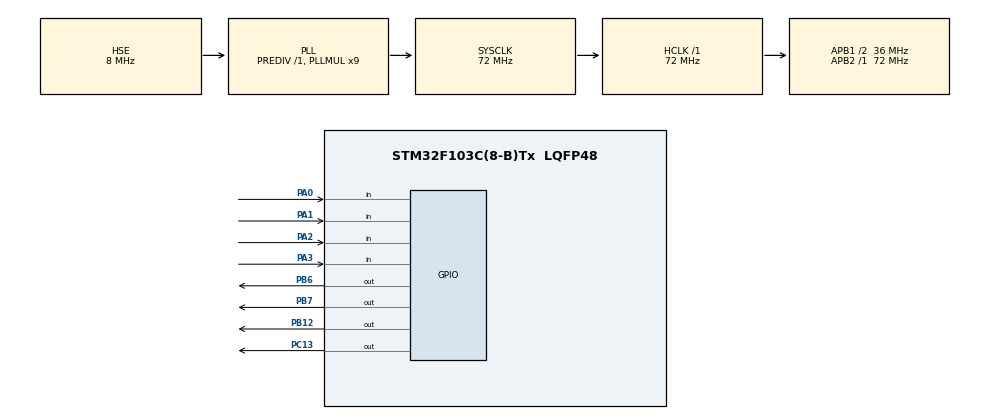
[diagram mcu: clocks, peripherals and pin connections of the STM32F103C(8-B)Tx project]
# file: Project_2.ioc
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Mcu.Family=STM32F1
Mcu.Name=STM32F103C(8-B)Tx
Mcu.Package=LQFP48
NVIC.PriorityGroup=NVIC_PRIORITYGROUP_4
NVIC.TIM1_UP_IRQn=true\:15\:0\:false\:false\:true\:false\:true\:true
NVIC.TIM2_IRQn=true\:15\:0\:false\:false\:true\:true\:true\:true
NVIC.TimeBase=TIM1_UP_IRQn
NVIC.TimeBaseIP=TIM1
PA0-WKUP.GPIO_PuPd=GPIO_PULLUP
PA0-WKUP.Signal=GPIO_Input
PA1.GPIO_Mode=GPIO_MODE_INPUT
PA1.GPIO_PuPd=GPIO_PULLUP
PA1.Signal=GPIO_Input
PA13.Mode=Serial_Wire
PA13.Signal=SYS_JTMS-SWDIO
PA14.Mode=Serial_Wire
PA14.Signal=SYS_JTCK-SWCLK
PA2.GPIO_PuPd=GPIO_PULLUP
PA2.Signal=GPIO_Input
PA3.GPIO_PuPd=GPIO_PULLUP
PA3.Signal=GPIO_Input
PB10.GPIO_Speed=GPIO_SPEED_FREQ_HIGH
PB10.Signal=I2C2_SCL
PB11.GPIO_Speed=GPIO_SPEED_FREQ_HIGH
PB11.Signal=I2C2_SDA
PB12.GPIO_Speed=GPIO_SPEED_FREQ_LOW
PB12.PinState=GPIO_PIN_RESET
PB12.Signal=GPIO_Output
PB6.PinState=GPIO_PIN_RESET
PB6.Signal=GPIO_Output
PB7.PinState=GPIO_PIN_RESET
PB7.Signal=GPIO_Output
PC13-TAMPER-RTC.Signal=GPIO_Output
PD0-OSC_IN.Mode=HSE-External-Oscillator
PD0-OSC_IN.Signal=RCC_OSC_IN
PD1-OSC_OUT.Mode=HSE-External-Oscillator
PD1-OSC_OUT.Signal=RCC_OSC_OUT
ProjectManager.HeapSize=0x200
ProjectManager.StackSize=0x400
ProjectManager.TargetToolchain=MDK-ARM V5.32
RCC.AHBFreq_Value=72000000
RCC.APB1CLKDivider=RCC_HCLK_DIV2
RCC.APB1Freq_Value=36000000
RCC.APB1TimFreq_Value=72000000
RCC.APB2Freq_Value=72000000
RCC.APB2TimFreq_Value=72000000
RCC.HCLKFreq_Value=72000000
RCC.PLLMUL=RCC_PLL_MUL9
RCC.PLLSourceVirtual=RCC_PLLSOURCE_HSE
RCC.SYSCLKFreq_VALUE=72000000
RCC.SYSCLKSource=RCC_SYSCLKSOURCE_PLLCLK
RCC.USBFreq_Value=72000000
TIM2.Period=999
TIM2.Prescaler=71
VP_SYS_VS_tim1.Mode=TIM1
VP_TIM2_VS_ClockSourceINT.Mode=Internal
board=custom

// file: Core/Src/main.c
/* USER CODE BEGIN Header */
/**
  ******************************************************************************
  * @file           : main.c
  * @brief          : Main program body
  ******************************************************************************
  * @attention
  *
  * Copyright (c) 2026 STMicroelectronics.
  * All rights reserved.
  *
  * This software is licensed under terms that can be found in the LICENSE file
  * in the root directory of this software component.
  * If no LICENSE file comes with this software, it is provided AS-IS.
  *
  ******************************************************************************
  */
/* USER CODE END Header */
#include "main.h"
#include "tim.h"
#include "gpio.h"

/* USER CODE BEGIN Includes */
#include "OLED_I2C.h"
#include <stdio.h>
/* USER CODE END Includes */

/* USER CODE BEGIN PV */

//定义结构体
typedef struct{

	uint16_t year;
	uint8_t month;
	uint8_t day;
	uint8_t hour;
	uint8_t min;
	uint8_t sec;

}Clock_t;

//当前时间

Clock_t currentTime = {2026,10,29,6,1,15};

//毫秒计数器

volatile uint16_t ms_tick = 0;

typedef enum {
    MODE_NORMAL = 0, // 正常走时
    MODE_SET_HOUR,   // 调小时
    MODE_SET_MIN,    // 调分钟
    MODE_SET_ALARM ,  // 调闹钟

	 MODE_SET_ALARM_H, // 调闹钟小时
    MODE_SET_ALARM_M  // 调闹钟分钟

} ClockMode_t;

ClockMode_t current_mode = MODE_NORMAL;

uint8_t alarm_hour = 12; // 默认闹钟 12点
uint8_t alarm_min = 5;   // 默认闹钟 05分
uint8_t alarm_triggered = 0; // 0:没响，1:正在响

/* USER CODE END PV */

void SystemClock_Config(void);

/* USER CODE BEGIN 0 */

//查哪个端口（GPIOA)  哪个引脚（GPIO_PIN_0 ）	返回 1 代表“确认按下了”，返回 0 代表“没按或一直按着”
uint8_t Key_Scan(GPIO_TypeDef* GPIOx, uint16_t GPIO_Pin)
{
	static uint8_t key_up[16] = {1}; 		//初始化为 {1}：意思是刚上电时，所有按键默认都是松开的状态
	//static（静态变量）
	//加上 static，这个变量就会永远记住上一次的值。下一次再进这个函数，它还是上次的值
//[16]（数组）用 16 个元素的数组，就能分别记住 PA0~PA15 这 16 个引脚各自有没有被按下

	if (key_up[GPIO_Pin & 0x0F] == 1 && HAL_GPIO_ReadPin(GPIOx, GPIO_Pin) == 0) {
        HAL_Delay(20); // 消抖
        if (HAL_GPIO_ReadPin(GPIOx, GPIO_Pin) == 0) {
            key_up[GPIO_Pin & 0x0F] = 0; // 标记为已按下
            return 1;
        }
    } else if (HAL_GPIO_ReadPin(GPIOx, GPIO_Pin) == 1) {
        key_up[GPIO_Pin & 0x0F] = 1; // 松开了，恢复标志
    }
    return 0;

}

/* USER CODE END 0 */

int main(void)
{

  /* MCU Configuration--------------------------------------------------------*/

  /* Reset of all peripherals, Initializes the Flash interface and the Systick. */
  HAL_Init();

  /* Configure the system clock */
  SystemClock_Config();

  /* Initialize all configured peripherals */
  MX_GPIO_Init();
  MX_TIM2_Init();
  /* USER CODE BEGIN 2 */

OLED_Init();
OLED_CLS();

HAL_TIM_Base_Start_IT(&htim2);	//启动定时器并使能更新中断，计数溢出时进入中断

// 强制拉低 PB12，确保开机不响
HAL_GPIO_WritePin(GPIOB, GPIO_PIN_12, GPIO_PIN_SET);

  /* USER CODE END 2 */

  /* Infinite loop */
  /* USER CODE BEGIN WHILE */

	char display_buf[30]; // 用于 sprintf

	OLED_ShowStr(0, 0, (unsigned char*)"Multi_Clock", 2);

  while (1)
  {

		// 如果按下了 MODE 键 (PA0)
      if (Key_Scan(GPIOA, GPIO_PIN_0)) {
          current_mode++; // 切换模式
          if (current_mode > MODE_SET_ALARM_M) current_mode = MODE_NORMAL; // 循环
      }

      // 如果按下了 ADD 键 (PA1)
      if (Key_Scan(GPIOA, GPIO_PIN_1))
      {
				if (current_mode == MODE_SET_HOUR)
          {    currentTime.hour++;

              if (currentTime.hour >= 24)
							{
								currentTime.hour = 0;
							}

          }
          else if (current_mode == MODE_SET_MIN)
          {   currentTime.min++;
              if (currentTime.min >= 60)
							{
								currentTime.min = 0;
							}
          }
					else if(current_mode ==  MODE_SET_ALARM_H)
					{
						alarm_hour++;
							if(alarm_hour>=24)
							{
								alarm_hour = 0;

							}

					}
					else if(current_mode == MODE_SET_ALARM_M)
					{
						alarm_min++;
							if(alarm_min>=60)
							{
								alarm_min = 0;
							}

					}

      }

		  // 如果按下了 SUB 键 (PA2)
      if (Key_Scan(GPIOA, GPIO_PIN_2))
       {
				if (current_mode == MODE_SET_HOUR)
          {    currentTime.hour--;

              if (currentTime.hour == 0)
							{
								currentTime.hour = 23;
							}

          }
          else if (current_mode == MODE_SET_MIN)
          {   currentTime.min--;
              if (currentTime.min ==0)
							{
								currentTime.min = 59;
							}
          }
					else if(current_mode ==  MODE_SET_ALARM_H)
					{
						alarm_hour--;
							if(alarm_hour==0)
							{
								alarm_hour = 23;

							}

					}
					else if(current_mode == MODE_SET_ALARM_M)
					{
						alarm_min--;
							if(alarm_min==0)
							{
								alarm_min = 59;
							}

					}

      }

		if(currentTime.sec>=60)
		{
				currentTime.sec = 0;
				currentTime.min++;
					if(currentTime.min>=60)
					{
							currentTime.min = 0;
							currentTime.hour++;
								if(currentTime.hour>=24)
								{

									currentTime.hour = 0;
									currentTime.day++;

								}

					}

		}

		// 如果当前时间 == 闹钟时间，并且秒数是0（只在每分钟的第一秒响），且还没触发过
      if (current_mode == MODE_NORMAL &&
          currentTime.hour == alarm_hour &&
          currentTime.min == alarm_min &&
          currentTime.sec == 0 &&
          alarm_triggered == 0)
      {
          alarm_triggered = 1; // 标记正在响铃
          HAL_GPIO_WritePin(GPIOB, GPIO_PIN_12, GPIO_PIN_RESET); // 蜂鸣器响 (低电平触发)
      }

        // 如果正在响铃，按任意键停止
      if (alarm_triggered == 1) {
          // 直接读引脚电平，只要是低电平（按下了），直接停
          if (HAL_GPIO_ReadPin(GPIOA, GPIO_PIN_0) == 0 ||
              HAL_GPIO_ReadPin(GPIOA, GPIO_PIN_1) == 0  ||
              HAL_GPIO_ReadPin(GPIOA, GPIO_PIN_2) == 0)
          {

              HAL_Delay(20);
              if (HAL_GPIO_ReadPin(GPIOA, GPIO_PIN_0) == 0 ||
                  HAL_GPIO_ReadPin(GPIOA, GPIO_PIN_1) == 0 ||
                  HAL_GPIO_ReadPin(GPIOA, GPIO_PIN_2) == 0)
              {
                  alarm_triggered = 0; // 解除标记
                  HAL_GPIO_WritePin(GPIOB, GPIO_PIN_12, GPIO_PIN_SET); // 蜂鸣器关
              }
          }
      }

		//%04 :  4表示至少占4位，0表示不足4位在前面补0
			sprintf(display_buf, "Alm: %02d:%02d", alarm_hour, alarm_min);
OLED_ShowStr(0, 4, (unsigned char*)display_buf, 2);

				  sprintf(display_buf, "Date: %04d-%02d-%02d", currentTime.year, currentTime.month, currentTime.day);
      OLED_ShowStr(0, 0, (unsigned char*)display_buf, 2);

     if (current_mode == MODE_SET_ALARM_H || current_mode == MODE_SET_ALARM_M)
      {
          // 如果在调闹钟模式，就把闹钟变量打印出来，并在前面加个星号提示
          sprintf(display_buf, "Set Alm: %02d:%02d  ", alarm_hour, alarm_min);
      }
      else
      {
          // 如果在其他模式，正常显示当前时间
          sprintf(display_buf, "Time: %02d:%02d:%02d", currentTime.hour, currentTime.min, currentTime.sec);
      }
      OLED_ShowStr(0, 2, (unsigned char*)display_buf, 2);

		// 显示当前模式
      if (current_mode == MODE_NORMAL) {
          OLED_ShowStr(0, 6, (unsigned char*)"Mode: NORMAL   ", 2);
      } else if (current_mode == MODE_SET_HOUR) {
          OLED_ShowStr(0, 6, (unsigned char*)"Mode: SET HOUR ", 2);
      } else if (current_mode == MODE_SET_MIN) {
          OLED_ShowStr(0, 6, (unsigned char*)"Mode: SET MIN  ", 2);
      }
       else if (current_mode == MODE_SET_ALARM_H){
				 OLED_ShowStr(0, 6, (unsigned char*)"Mode: ALM HOUR ", 2);
			 }
      else if (current_mode == MODE_SET_ALARM_M){
				 OLED_ShowStr(0, 6, (unsigned char*)"Mode: ALM MIN  ", 2);
			}

		HAL_Delay(10); // 防止刷屏过快卡死

    /* USER CODE END WHILE */

  }
}

void SystemClock_Config(void)
{
  RCC_OscInitTypeDef RCC_OscInitStruct = {0};
  RCC_ClkInitTypeDef RCC_ClkInitStruct = {0};

  /** Initializes the RCC Oscillators according to the specified parameters
  * in the RCC_OscInitTypeDef structure.
  */
  RCC_OscInitStruct.OscillatorType = RCC_OSCILLATORTYPE_HSE;
  RCC_OscInitStruct.HSEState = RCC_HSE_ON;
  RCC_OscInitStruct.HSEPredivValue = RCC_HSE_PREDIV_DIV1;
  RCC_OscInitStruct.HSIState = RCC_HSI_ON;
  RCC_OscInitStruct.PLL.PLLState = RCC_PLL_ON;
  RCC_OscInitStruct.PLL.PLLSource = RCC_PLLSOURCE_HSE;
  RCC_OscInitStruct.PLL.PLLMUL = RCC_PLL_MUL9;
  if (HAL_RCC_OscConfig(&RCC_OscInitStruct) != HAL_OK)
  {
    Error_Handler();
  }

  /** Initializes the CPU, AHB and APB buses clocks
  */
  RCC_ClkInitStruct.ClockType = RCC_CLOCKTYPE_HCLK|RCC_CLOCKTYPE_SYSCLK
                              |RCC_CLOCKTYPE_PCLK1|RCC_CLOCKTYPE_PCLK2;
  RCC_ClkInitStruct.SYSCLKSource = RCC_SYSCLKSOURCE_PLLCLK;
  RCC_ClkInitStruct.AHBCLKDivider = RCC_SYSCLK_DIV1;
  RCC_ClkInitStruct.APB1CLKDivider = RCC_HCLK_DIV2;
  RCC_ClkInitStruct.APB2CLKDivider = RCC_HCLK_DIV1;

  if (HAL_RCC_ClockConfig(&RCC_ClkInitStruct, FLASH_LATENCY_2) != HAL_OK)
  {
    Error_Handler();
  }
}

void HAL_TIM_PeriodElapsedCallback(TIM_HandleTypeDef *htim)
{
  /* USER CODE BEGIN Callback 0 */
if (htim->Instance == TIM2)
  {

		 if (current_mode == MODE_NORMAL)
				{
					ms_tick++;
					if (ms_tick >= 1000) //满了1000ms就是1秒
					{
							ms_tick = 0;
						currentTime.sec++;
					}

				}

  }
  /* USER CODE END Callback 0 */
  if (htim->Instance == TIM1) {
    HAL_IncTick();
  }
}

void Error_Handler(void)
{
  __disable_irq();
  while (1)
  {
  }
}
